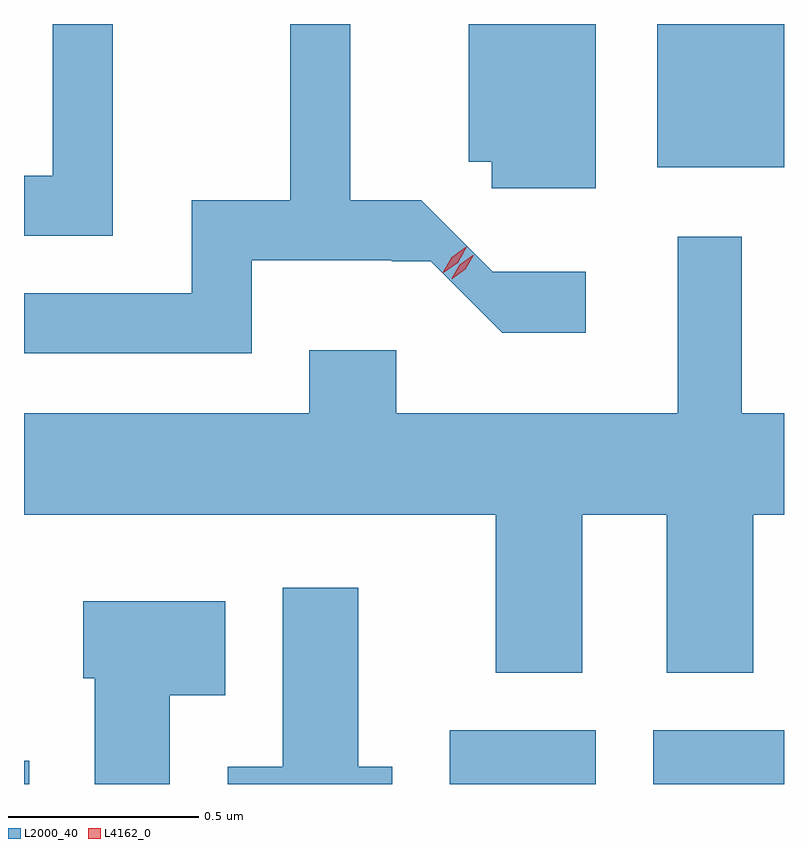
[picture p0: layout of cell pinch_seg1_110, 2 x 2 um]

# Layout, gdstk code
import gdstk
lib = gdstk.Library(unit=1e-6, precision=1e-09)
def R(c, l, rs):  # rectangles x0, y0, x1, y1
    for r in rs: c.add(gdstk.rectangle(r[:2], r[2:], *l))
def P(c, l, *ps):  # polygons
    for p in ps: c.add(gdstk.Polygon(p, *l))
L2000_40 = (2000, 40)
L4162_0 = (4162, 0)

pinch_seg1_110 = lib.new_cell('pinch_seg1_110')
R(pinch_seg1_110, L2000_40, [(196.61,863.348,196.624,863.409), (197.731,863.348,198.114,863.489), (198.266,863.348,198.61,863.489), (198.276,864.971,198.61,865.348)])
P(pinch_seg1_110, L2000_40, [(197.209,864.726),(197.578,864.726),(197.578,864.724),(197.68,864.724),(197.868,864.536),(198.088,864.536),(198.088,864.696),(197.843,864.696),(197.655,864.884),(197.469,864.884),(197.469,865.348),(197.311,865.348),(197.311,864.884),(197.051,864.884),(197.051,864.639),(196.61,864.639),(196.61,864.481),(197.209,864.481)],
  [(196.844,865.348),(196.686,865.348),(196.686,864.949),(196.61,864.949),(196.61,864.791),(196.844,864.791)],
  [(198.114,865.348),(197.781,865.348),(197.781,864.986),(197.841,864.986),(197.841,864.916),(198.114,864.916)],
  [(198.079,864.056),(198.301,864.056),(198.301,863.641),(198.529,863.641),(198.529,864.056),(198.61,864.056),(198.61,864.324),(198.499,864.324),(198.499,864.788),(198.331,864.788),(198.331,864.324),(197.589,864.324),(197.589,864.489),(197.361,864.489),(197.361,864.324),(196.61,864.324),(196.61,864.056),(197.851,864.056),(197.851,863.641),(198.079,863.641)],
  [(197.579,863.394),(197.489,863.394),(197.489,863.864),(197.291,863.864),(197.291,863.394),(197.146,863.394),(197.146,863.348),(197.579,863.348)],
  [(196.994,863.581),(197.139,863.581),(197.139,863.829),(196.766,863.829),(196.766,863.626),(196.796,863.626),(196.796,863.348),(196.994,863.348)])
P(pinch_seg1_110, L4162_0, [(197.736,864.678),(197.736,864.679),(197.757,864.715),(197.791,864.739),(197.792,864.739),(197.792,864.738),(197.771,864.702),(197.737,864.678)],
  [(197.712,864.692),(197.712,864.693),(197.736,864.734),(197.774,864.762),(197.775,864.762),(197.775,864.762),(197.751,864.72),(197.712,864.692)])

lib.write_gds('pinch_seg1_110.gds')
